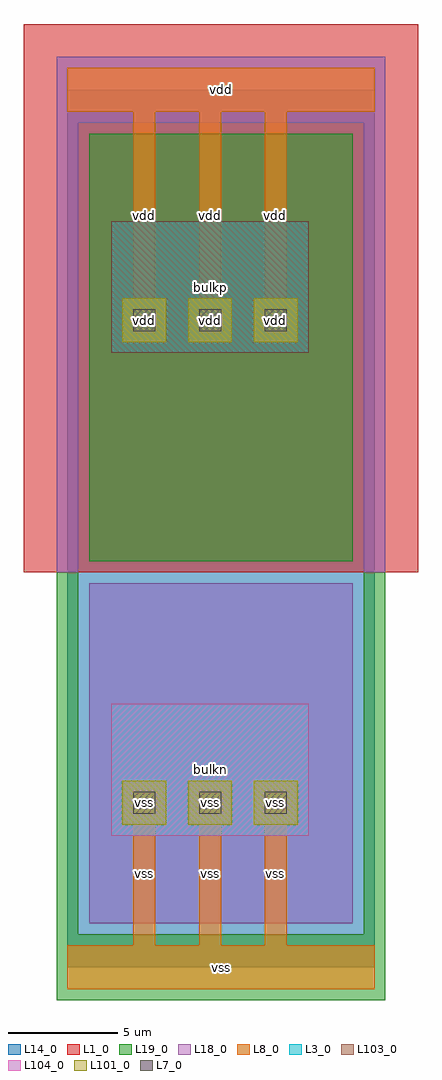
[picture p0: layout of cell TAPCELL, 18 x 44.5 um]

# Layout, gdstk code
import gdstk
lib = gdstk.Library(unit=1e-6, precision=1e-09)
def R(c, l, rs):  # rectangles x0, y0, x1, y1
    for r in rs: c.add(gdstk.rectangle(r[:2], r[2:], *l))
def A(c, l, x, y, w, h, nx, ny, dx, dy):  # array of equal rectangles
    R(c, l, [(x+i*dx, y+j*dy, x+i*dx+w, y+j*dy+h) for i in range(nx) for j in range(ny)])
L1_0 = (1, 0)
L3_0 = (3, 0)
L7_0 = (7, 0)
L8_0 = (8, 0)
L13_0 = (13, 0)
L14_0 = (14, 0)
L18_0 = (18, 0)
L19_0 = (19, 0)
L101_0 = (101, 0)
L103_0 = (103, 0)
L104_0 = (104, 0)

tapcell = lib.new_cell('TAPCELL')
R(tapcell, L1_0, [(-2,18,16,43)])
R(tapcell, L3_0, [(2,6,11,12), (2,28,11,34)])
A(tapcell, L7_0, 3, 7, 1, 1, 3, 2, 3, 22)
A(tapcell, L8_0, 3, 0.5, 1, 7.5, 3, 1, 3, 0)
A(tapcell, L8_0, 2.5, 6.5, 2, 2, 3, 2, 3, 22)
A(tapcell, L8_0, 3, 29, 1, 10.5, 3, 1, 3, 0)
R(tapcell, L8_0, [(0,-1,14,1), (0,39,14,41)])
R(tapcell, L14_0, [(0,0,14,40)])
R(tapcell, L18_0, [(1,2,13,17.5), (-0.5,18,0.5,38.5), (13.5,18,14.5,38.5), (-0.5,38.5,14.5,41.5)])
R(tapcell, L19_0, [(-0.5,-1.5,14.5,1.5), (-0.5,1.5,0.5,18), (13.5,1.5,14.5,18), (1,18.5,13,38)])
A(tapcell, L101_0, 2.5, 6.5, 2, 2, 3, 2, 3, 22)
R(tapcell, L103_0, [(2,28,11,34)])
R(tapcell, L104_0, [(2,6,11,12)])
tapcell.add(gdstk.FlexPath([(2,3),(11,3)], 0, ends="flush", simple_path=True, layer=13, datatype=0))  # L13_0
tapcell.add(gdstk.FlexPath([(2,7.5),(11,7.5)], 0, ends="flush", simple_path=True, layer=13, datatype=0))  # L13_0
tapcell.add(gdstk.FlexPath([(2,10.5),(11,10.5)], 0, ends="flush", simple_path=True, layer=13, datatype=0))  # L13_0
tapcell.add(gdstk.FlexPath([(2,15),(11,15)], 0, ends="flush", simple_path=True, layer=13, datatype=0))  # L13_0
tapcell.add(gdstk.FlexPath([(2,18),(11,18)], 0, ends="flush", simple_path=True, layer=13, datatype=0))  # L13_0
tapcell.add(gdstk.FlexPath([(2,21),(11,21)], 0, ends="flush", simple_path=True, layer=13, datatype=0))  # L13_0
tapcell.add(gdstk.FlexPath([(2,25.5),(11,25.5)], 0, ends="flush", simple_path=True, layer=13, datatype=0))  # L13_0
tapcell.add(gdstk.FlexPath([(2,29.5),(11,29.5)], 0, ends="flush", simple_path=True, layer=13, datatype=0))  # L13_0
tapcell.add(gdstk.FlexPath([(2,32.5),(11,32.5)], 0, ends="flush", simple_path=True, layer=13, datatype=0))  # L13_0
tapcell.add(gdstk.FlexPath([(2,37),(11,37)], 0, ends="flush", simple_path=True, layer=13, datatype=0))  # L13_0
tapcell.add(gdstk.FlexPath([(3.5,0.5),(3.5,39.5)], 0, ends="flush", simple_path=True, layer=13, datatype=0))  # L13_0
tapcell.add(gdstk.FlexPath([(6.5,0.5),(6.5,39.5)], 0, ends="flush", simple_path=True, layer=13, datatype=0))  # L13_0
tapcell.add(gdstk.FlexPath([(9.5,0.5),(9.5,39.5)], 0, ends="flush", simple_path=True, layer=13, datatype=0))  # L13_0
tapcell.add(gdstk.Label('vss', (3.5,7.5), layer=101, texttype=0))
tapcell.add(gdstk.Label('vss', (6.5,7.5), layer=101, texttype=0))
tapcell.add(gdstk.Label('vss', (9.5,7.5), layer=101, texttype=0))
tapcell.add(gdstk.Label('vdd', (3.5,29.5), layer=101, texttype=0))
tapcell.add(gdstk.Label('vdd', (6.5,29.5), layer=101, texttype=0))
tapcell.add(gdstk.Label('vdd', (9.5,29.5), layer=101, texttype=0))
tapcell.add(gdstk.Label('vss', (3.5,7.5), layer=8, texttype=0))
tapcell.add(gdstk.Label('vss', (3.5,4.25), layer=8, texttype=0))
tapcell.add(gdstk.Label('vss', (6.5,7.5), layer=8, texttype=0))
tapcell.add(gdstk.Label('vss', (6.5,4.25), layer=8, texttype=0))
tapcell.add(gdstk.Label('vss', (9.5,7.5), layer=8, texttype=0))
tapcell.add(gdstk.Label('vss', (9.5,4.25), layer=8, texttype=0))
tapcell.add(gdstk.Label('vdd', (3.5,29.5), layer=8, texttype=0))
tapcell.add(gdstk.Label('vdd', (3.5,34.25), layer=8, texttype=0))
tapcell.add(gdstk.Label('vdd', (6.5,29.5), layer=8, texttype=0))
tapcell.add(gdstk.Label('vdd', (6.5,34.25), layer=8, texttype=0))
tapcell.add(gdstk.Label('vdd', (9.5,29.5), layer=8, texttype=0))
tapcell.add(gdstk.Label('vdd', (9.5,34.25), layer=8, texttype=0))
tapcell.add(gdstk.Label('vss', (7,0), layer=8, texttype=0))
tapcell.add(gdstk.Label('vdd', (7,40), layer=8, texttype=0))
tapcell.add(gdstk.Label('bulkp', (6.5,31), layer=103, texttype=0))
tapcell.add(gdstk.Label('bulkn', (6.5,9), layer=104, texttype=0))

lib.write_gds('TAPCELL.gds')
